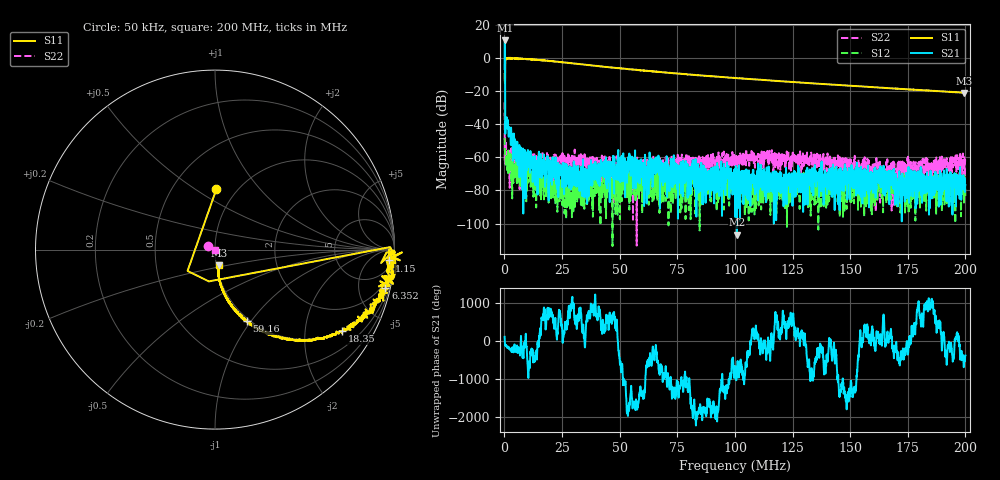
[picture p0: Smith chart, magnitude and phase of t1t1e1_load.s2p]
! 12-May-26 12:26:26 PM
! E:\REC_VNA_20260512\T1T1E1_LOAD.S2P
! CHANNEL.1
! TR.MEASUREMENT
! CORRECTED.DATA
# GHZ S RI R 50.0
! FREQ.GHZ  S11RE  S11IM  S21RE  S21IM  S12RE  S12IM  S22RE  S22IM
!; PortSelection: Port_12
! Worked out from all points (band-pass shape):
!   2000 points, 50 kHz to 200 MHz, reference 50 ohm
!   highest |S21| = 10.76 dB at 150 kHz (marker M1); lowest = -106.8 dB at 100.9 MHz (marker M2)
!   |S21| within 3 dB of the highest: 132.7 kHz to 167.3 kHz (34.6 kHz wide, 23.1 % of centre)
!   lowest |S11| = -21.0 dB at 199.4 MHz (marker M3), VSWR 1.20, Z = 51.4 - j9.01 ohm
!   |S11| at or under -10 dB: 60.63 kHz to 283.3 kHz (222.7 kHz wide, 129 % of centre); 81.55 MHz to end of sweep
!   |S22| runs from -113.4 to -26.7 dB; largest |S21 - S12| = 3.5
!   S11 on the Smith chart (normalised r, x): 50 kHz: 0.81, +0.61; 1.15 MHz: 12, -26; 6.352 MHz: 1.09, -8.82; 18.35 MHz: 1.01, -3.12; 59.16 MHz: 0.97, -0.95; 200 MHz: 1.03, -0.18
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5e-05  0.00724 0.3351  -0.1779 0.434  -0.00383 -0.000841  -0.0413 0.0211
0.000150025  -0.1529 -0.1189  3.415 0.4961  -0.000487 0.00204  0.000737 7.02e-05
0.001150275  0.9692 -0.0603  -0.00617 -0.00448  -0.000136 -0.00039  0.00111 0.000283
0.001350325  0.9919 -0.0751  -0.011 -0.0057  0.000498 -0.000583  0.000447 -0.000384
0.006351576  0.9492 -0.2148  0.00117 0.00127  0.000266 2.82e-05  0.000753 4.18e-05
0.008752176  0.925 -0.2705  0.0012 -0.000802  3.51e-05 -9.82e-05  0.000623 -4.69e-05
0.0108527  0.8942 -0.3065  -0.00109 4.23e-05  0.000153 -0.000365  0.000794 0.00053
0.01335333  0.8202 -0.38  0.000315 -0.00069  0.000197 -0.000107  0.000843 0.000218
0.01835458  0.7079 -0.4532  -0.00033 -0.000514  -9.62e-05 3.24e-05  0.000578 0.000692
0.03345835  0.4227 -0.5007  -0.000136 0.000199  2.86e-05 3.14e-05  0.000562 0.000577
0.05266316  0.2165 -0.4236  -0.000584 0.00032  0.000116 7.38e-05  -0.000293 0.000295
0.05446361  0.1984 -0.4172  -0.000118 -0.000951  0.000116 -3.18e-05  0.000176 9.14e-05
0.05916478  0.1765 -0.3976  -0.000204 0.000617  0.000252 -4.45e-05  -3.86e-05 -0.000286
0.06676668  0.138 -0.3638  -0.000447 0.00104  0.000388 -0.000152  0.0006 5e-05
0.08527131  0.0797 -0.2898  -0.000175 -0.000357  0.000227 -3.45e-05  0.000591 0.000136
0.09727431  0.0576 -0.254  3.41e-05 0.000217  -0.000107 -0.000177  0.000737 0.000618
0.100075  0.0525 -0.2472  -8e-06 -1.37e-05  7.39e-05 2.28e-05  0.000704 0.000349
0.1008752  0.0523 -0.2447  -1.5e-06 -4.3e-06  -8.97e-05 -9.8e-06  0.000794 0.000679
0.1333833  0.0254 -0.172  -0.000163 -0.000227  -0.000275 -0.000192  2.96e-05 0.00102
0.1666917  0.0179 -0.1228  0.000368 0.000133  0.000194 7.6e-06  -0.000112 5.8e-05
0.1993998  0.0213 -0.087  -9.21e-05 0.000115  1.6e-05 -4e-05  0.000527 -0.000575
0.2  0.0216 -0.087  0.000139 -4.36e-05  -5.63e-05 3.12e-05  0.000671 0.000468
